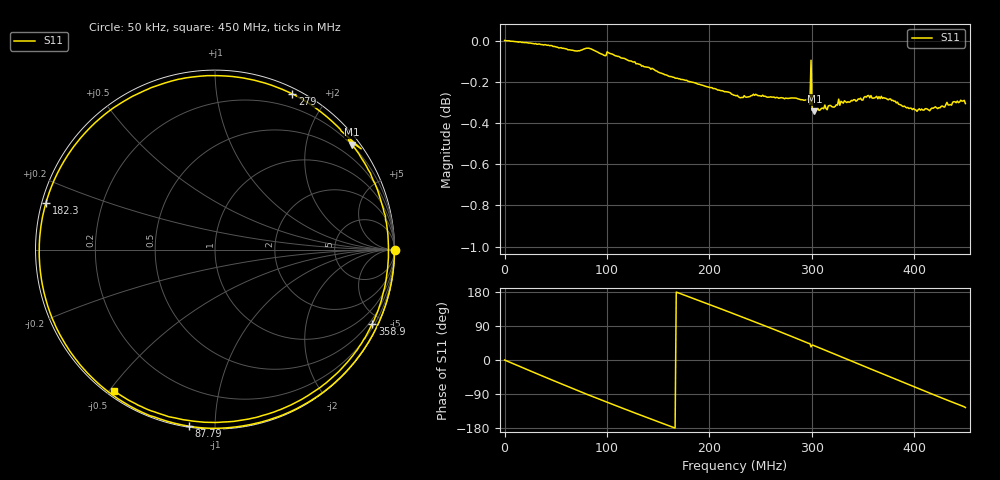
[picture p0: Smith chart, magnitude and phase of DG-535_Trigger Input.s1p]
! NanoVNA-App
! Date: 2026-10-05 11:15:52
! Start: 50kHz Stop: 450MHz Points: 401
! S-Parameter data: F S11
# Hz S RI R 50
!  Frequency  S11_Real  S11_Imag
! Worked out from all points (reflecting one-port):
!   401 points, 50 kHz to 450 MHz, reference 50 ohm
!   lowest |S11| = -0.3 dB at 302.6 MHz (marker M1), VSWR 50.64, Z = 9.57 + j147 ohm
!   phase of S11 starts at -0 deg and turns -485 deg over the sweep
!   S11 on the Smith chart (normalised r, x): 50 kHz: open; 87.79 MHz: 0.00, -0.86; 182.3 MHz: 0.01, +0.14; 279 MHz: 0.06, +1.61; 358.9 MHz: 0.34, -4.46; 450 MHz: 0.02, -0.52
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50000  1 -0.00114
1.242362e7  0.9685 -0.2469
2.592212e7  0.867 -0.4956
4.167038e7  0.6727 -0.7366
5.629375e7  0.4384 -0.8942
7.2042e7  0.1508 -0.983
8.779025e7  -0.1447 -0.984
1.125375e8  -0.56 -0.8176
1.271609e8  -0.7528 -0.6404
1.417842e8  -0.8894 -0.4233
1.687812e8  -0.9788 0.0322
1.822798e8  -0.9416 0.2614
2.025275e8  -0.7871 0.5739
2.25025e8  -0.4948 0.8342
2.52022e8  -0.0444 0.969
2.655205e8  0.1974 0.9485
2.79019e8  0.4304 0.8675
2.812688e8  0.4674 0.8483
3.026414e8  0.7637 0.5838
3.195145e8  0.9129 0.3092
3.375125e8  0.9662 -0.0232
3.588851e8  0.8765 -0.4118
3.757582e8  0.6976 -0.6711
3.937562e8  0.4233 -0.8655
4.072548e8  0.1883 -0.944
4.207532e8  -0.0586 -0.962
4.342518e8  -0.2985 -0.9174
4.5e8  -0.56 -0.7865
